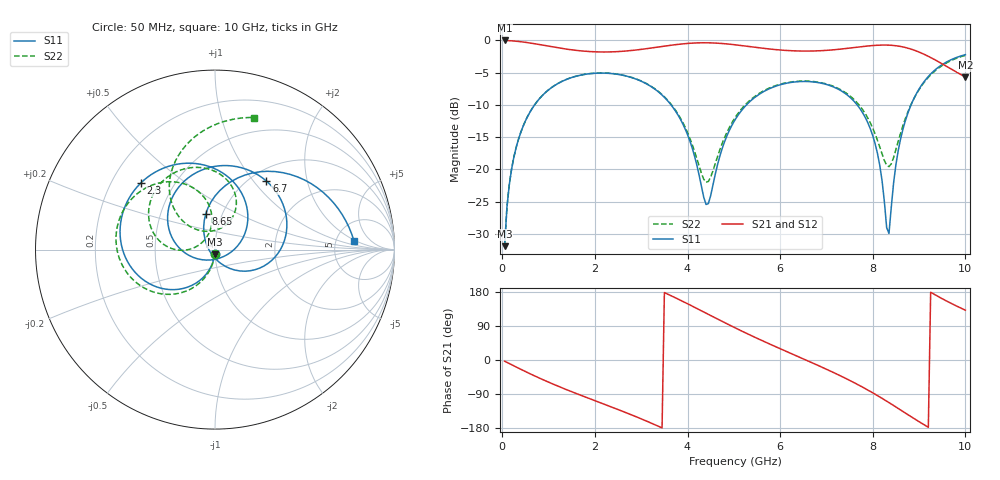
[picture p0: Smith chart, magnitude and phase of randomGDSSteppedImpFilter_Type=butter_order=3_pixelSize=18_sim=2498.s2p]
! freq	dB(S11)	phase(S11)	dB(S12)	phase(S12)
!  dB(S21)	phase(S21)	dB(S22)	phase(S22)
!S-par simulation data
#  GHz  S  DB  R 50
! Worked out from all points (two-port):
!   200 points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, 50 MHz to 10 GHz, reference 50 ohm
!   highest |S21| = -0.01 dB at 50 MHz (marker M1); lowest = -5.7 dB at 10 GHz (marker M2)
!   |S21| within 3 dB of the highest: start of sweep to 9.343 GHz
!   lowest |S11| = -31.9 dB at 50 MHz (marker M3), VSWR 1.05, Z = 49.8 - j2.53 ohm
!   |S11| at or under -10 dB: start of sweep to 697.3 MHz; 3.645 GHz to 5.272 GHz (1.628 GHz wide, 36.5 % of centre); 7.663 GHz to 8.827 GHz (1.165 GHz wide, 14.1 % of centre)
!   |S22| runs from -31.9 to -2.3 dB; largest |S21 - S12| = 0
!   S11 on the Smith chart (normalised r, x): 50 MHz: 1.00, -0.05; 2.3 GHz: 0.32, +0.35; 6.7 GHz: 1.18, +1.17; 8.65 GHz: 0.84, +0.34; 10 GHz: 7.45, +1.84
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0.05  -31.90 -93.4  -0.01 -3.2  -0.01 -3.2  -31.90 -93.0
0.1  -25.91 -96.9  -0.02 -6.3  -0.02 -6.3  -25.90 -96.1
0.2  -19.98 -103.6  -0.06 -12.4  -0.06 -12.4  -19.97 -102.0
0.5  -12.47 -123.0  -0.30 -30.5  -0.30 -30.5  -12.46 -119.1
1.05  -7.39 -155.8  -0.96 -61.2  -0.96 -61.2  -7.37 -147.5
1.75  -5.31 166.6  -1.66 -95.7  -1.66 -95.7  -5.29 -178.9
2.3  -5.11 138.2  -1.79 -121.3  -1.79 -121.3  -5.08 158.6
2.85  -5.90 108.4  -1.52 -147.7  -1.52 -147.7  -5.87 136.2
3.4  -8.15 74.8  -0.99 -176.5  -0.99 -176.5  -8.09 113.5
4  -14.61 27.4  -0.47 148.5  -0.47 148.5  -14.29 95.4
4.4  -25.43 -64.0  -0.37 123.6  -0.37 123.6  -22.00 134.8
5.05  -12.04 164.0  -0.70 83.5  -0.70 83.5  -11.73 177.1
5.85  -7.24 107.0  -1.39 37.9  -1.39 37.9  -7.14 146.4
6.7  -6.42 53.1  -1.64 -7.9  -1.64 -7.9  -6.36 110.8
7.3  -7.74 14.0  -1.35 -41.6  -1.35 -41.6  -7.61 85.0
7.85  -12.11 -27.0  -0.90 -76.3  -0.90 -76.3  -11.51 63.8
8.1  -17.48 -51.8  -0.75 -93.8  -0.75 -93.8  -15.47 63.5
8.35  -29.93 -169.0  -0.73 -112.4  -0.73 -112.4  -19.57 101.2
8.5  -19.25 124.4  -0.83 -124.0  -0.83 -124.0  -16.92 130.5
8.65  -13.80 104.7  -1.01 -135.7  -1.01 -135.7  -13.24 138.4
9.25  -5.21 52.3  -2.65 178.8  -2.65 178.8  -5.35 114.1
10  -2.21 3.6  -5.70 131.4  -5.70 131.4  -2.31 73.7
